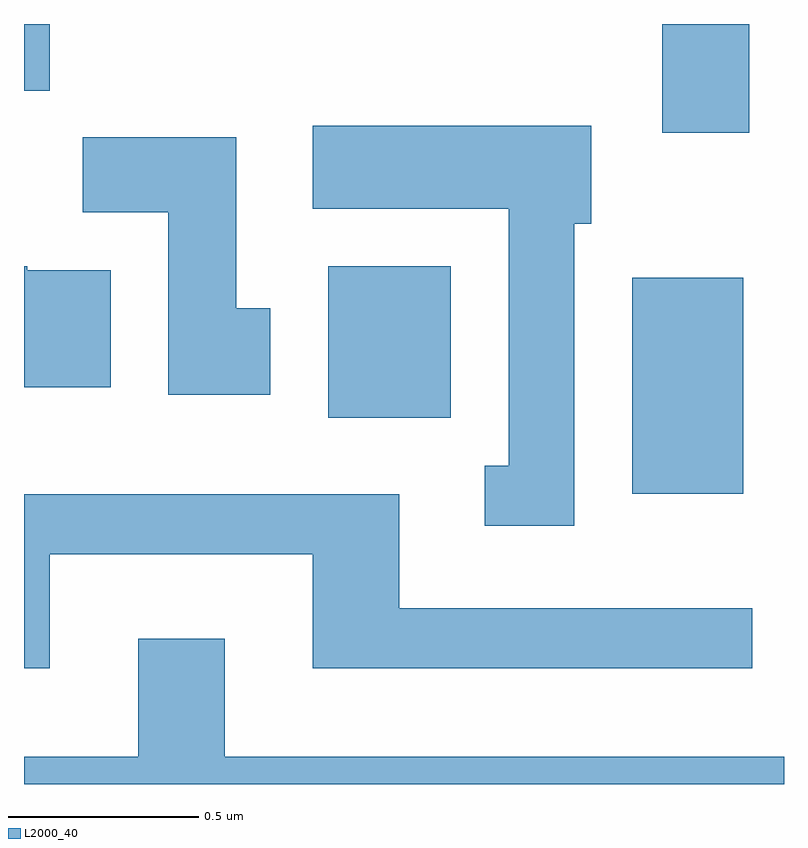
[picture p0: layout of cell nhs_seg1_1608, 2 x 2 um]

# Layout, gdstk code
import gdstk
lib = gdstk.Library(unit=1e-6, precision=1e-09)
def R(c, l, rs):  # rectangles x0, y0, x1, y1
    for r in rs: c.add(gdstk.rectangle(r[:2], r[2:], *l))
def P(c, l, *ps):  # polygons
    for p in ps: c.add(gdstk.Polygon(p, *l))
L2000_40 = (2000, 40)

nhs_seg1_1608 = lib.new_cell('nhs_seg1_1608')
R(nhs_seg1_1608, L2000_40, [(198.211,960.476,198.504,961.044), (197.411,960.676,197.734,961.074), (198.291,961.426,198.519,961.712), (196.611,961.536,196.679,961.712)])
P(nhs_seg1_1608, L2000_40, [(198.059,961.186),(198.104,961.186),(198.104,961.444),(197.371,961.444),(197.371,961.226),(197.886,961.226),(197.886,960.549),(197.823,960.549),(197.823,960.391),(198.059,960.391)],
  [(197.259,960.964),(197.169,960.964),(197.169,961.414),(196.766,961.414),(196.766,961.216),(196.991,961.216),(196.991,960.736),(197.259,960.736)],
  [(196.839,961.064),(196.62,961.064),(196.62,961.074),(196.611,961.074),(196.611,960.756),(196.839,960.756)],
  [(196.679,960.316),(197.371,960.316),(197.371,960.016),(198.528,960.016),(198.528,960.174),(197.599,960.174),(197.599,960.474),(196.611,960.474),(196.611,960.016),(196.679,960.016)],
  [(198.611,959.784),(197.139,959.784),(197.139,960.094),(196.911,960.094),(196.911,959.784),(196.611,959.784),(196.611,959.712),(198.611,959.712)])

lib.write_gds('nhs_seg1_1608.gds')
